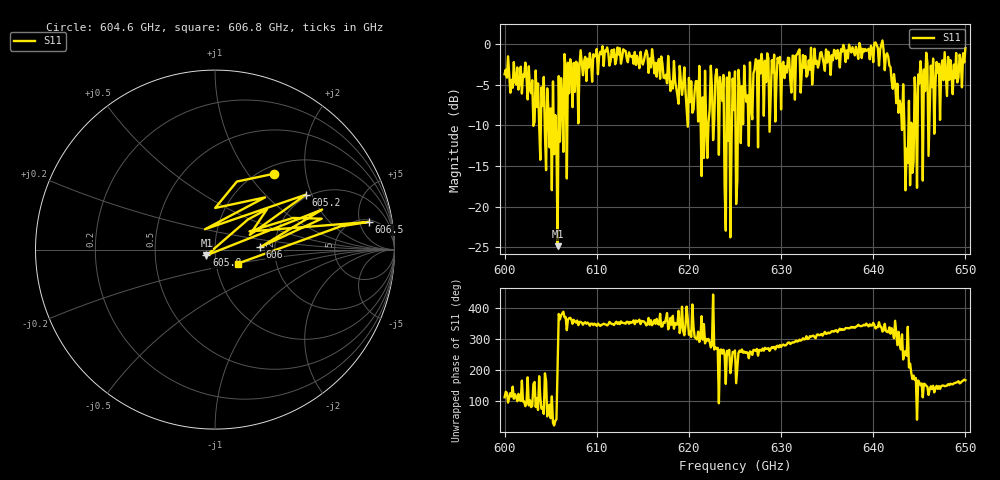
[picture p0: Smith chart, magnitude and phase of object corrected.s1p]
!Created with skrf (http://scikit-rf.org).
# GHz S MA R 50.0
!freq magS11 angS11
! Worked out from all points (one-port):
!   401 points, 600 GHz to 650 GHz, reference 50 ohm
!   lowest |S11| = -24.9 dB at 605.8 GHz (marker M1), VSWR 1.12, Z = 45.4 - j2.9 ohm
!   |S11| at or under -10 dB: 604.3581 GHz to 604.5682 GHz (210.2 MHz wide, 0.0348 % of centre); 605.5478 GHz to 605.8387 GHz (290.9 MHz wide, 0.048 % of centre); 643.3798 GHz to 643.8253 GHz (445.5 MHz wide, 0.0692 % of centre) (the widest 3 of 32)
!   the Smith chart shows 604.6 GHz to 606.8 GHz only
!   S11 on the Smith chart (normalised r, x): 604.6 GHz: 1.13, +1.34; 605.2 GHz: 1.93, +1.81; 605.8 GHz: 0.91, -0.06; 606 GHz: 1.67, +0.05; 606.5 GHz: 5.47, +6.95; 606.8 GHz: 1.27, -0.20
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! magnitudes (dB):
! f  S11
! 600 GHz  -3.7
! 602.4 GHz  -4.0
! 604.6 GHz  -5.4
! 605.2 GHz  -4.6
! 605.8 GHz  -24.9
! 606 GHz  -12.0
! 606.2 GHz  -6.6
! 606.5 GHz  -1.2
! 606.8 GHz  -16.5
! 608.5 GHz  -3.8
! 612.5 GHz  -0.5
! 618.8 GHz  -6.3
! 620.9 GHz  -4.6
! 621.9 GHz  -10.1
! 623.1 GHz  -4.7
! 624.2 GHz  -11.9
! 625 GHz  -3.3
! 625.4 GHz  -3.1
! 625.6 GHz  -12.2
! 627.1 GHz  -3.1
! 631.2 GHz  -1.4
! 637.5 GHz  -0.6
! 641.6 GHz  -1.5
! 643.1 GHz  -10.6
! 643.8 GHz  -14.6
! 644.5 GHz  -4.1
! 645 GHz  -4.8
! 650 GHz  -0.5
